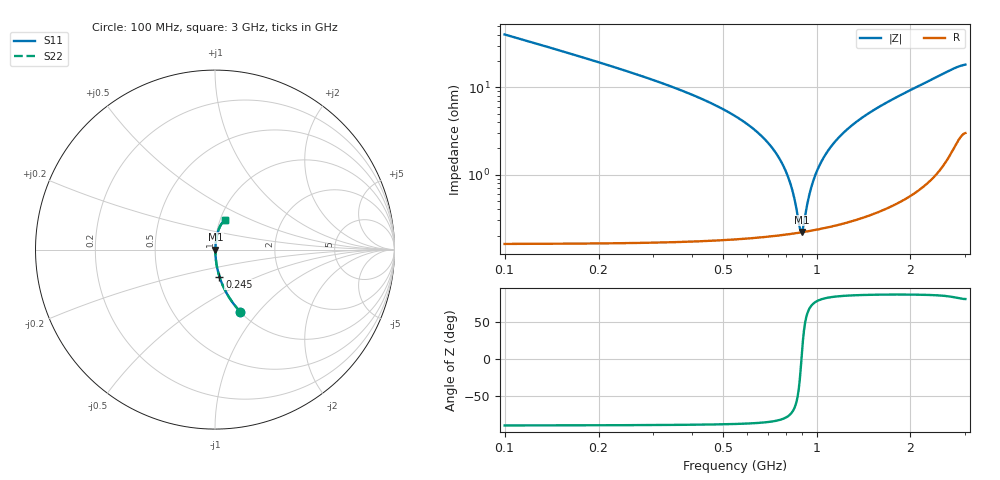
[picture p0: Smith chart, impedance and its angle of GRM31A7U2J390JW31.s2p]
!Murata Part Number: GRM31A7U2J390JW31
!These Parameters are Measured in Series Mode Connection
!Data Generated on Mar 30, 2021
!  o--ll--o
!Port1  Port2
!  o------o
!Operation Temp=25[degC], DC Bias Voltage=0[V]
!Freq. Start=100[MHz] Stop=3[GHz] 401[Steps]
# Hz S RI R 50
!Freq.(Hz) S11(Real) S11(Imag) S21(Real) S21(Imag) S12(Real) S12(Imag) S22(Real) S22(Imag)
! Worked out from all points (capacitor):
!   401 points, 100 MHz to 3 GHz, reference 50 ohm
!   read as one part in series: C = 39 pF near 114.5 MHz
!   lowest |Z| = 221 mohm at 897.5 MHz (marker M1)
!   series resonance near 894.6 MHz, so ESL is about 810 pH
!   S11 on the Smith chart (normalised r, x): 100 MHz: 1.00, -0.81; 245 MHz: 1.00, -0.31; 3 GHz: 1.06, +0.36
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1e8  0.1408 -0.3458  0.8592 0.3458  0.8592 0.3458  0.1408 -0.3458
1.58e8  0.0604 -0.2349  0.9396 0.2349  0.9396 0.2349  0.0604 -0.2349
2.45e8  0.0248 -0.1503  0.9752 0.1503  0.9752 0.1503  0.0248 -0.1503
3.8275e8  0.00926 -0.0865  0.9907 0.0865  0.9907 0.0865  0.00926 -0.0865
5.8575e8  0.00345 -0.04  0.9966 0.04  0.9966 0.04  0.00345 -0.04
6.945e8  0.0025 -0.0236  0.9975 0.0236  0.9975 0.0236  0.0025 -0.0236
7.7425e8  0.00221 -0.0134  0.9978 0.0134  0.9978 0.0134  0.00221 -0.0134
8.25e8  0.00215 -0.00752  0.9979 0.00752  0.9979 0.00752  0.00215 -0.00752
8.4675e8  0.00214 -0.0051  0.9979 0.0051  0.9979 0.0051  0.00214 -0.0051
8.83e8  0.00217 -0.00121  0.9978 0.00121  0.9978 0.00121  0.00217 -0.00121
8.975e8  0.00219 0.000303  0.9978 -0.000303  0.9978 -0.000303  0.00219 0.000303
9.12e8  0.00221 0.0018  0.9978 -0.0018  0.9978 -0.0018  0.00221 0.0018
9.4825e8  0.00229 0.00544  0.9977 -0.00544  0.9977 -0.00544  0.00229 0.00544
9.7725e8  0.00237 0.00827  0.9976 -0.00827  0.9976 -0.00827  0.00237 0.00827
1.02075e9  0.00253 0.0124  0.9975 -0.0124  0.9975 -0.0124  0.00253 0.0124
1.0715e9  0.00275 0.017  0.9972 -0.017  0.9972 -0.017  0.00275 0.017
1.15125e9  0.00319 0.0241  0.9968 -0.0241  0.9968 -0.0241  0.00319 0.0241
1.26e9  0.00394 0.0332  0.9961 -0.0332  0.9961 -0.0332  0.00394 0.0332
1.55e9  0.0068 0.0562  0.9932 -0.0562  0.9932 -0.0562  0.0068 0.0562
2.03575e9  0.0149 0.0939  0.9851 -0.0939  0.9851 -0.0939  0.0149 0.0939
2.5215e9  0.0305 0.1342  0.9695 -0.1342  0.9695 -0.1342  0.0305 0.1342
3e9  0.0578 0.1644  0.9422 -0.1644  0.9422 -0.1644  0.0578 0.1644
